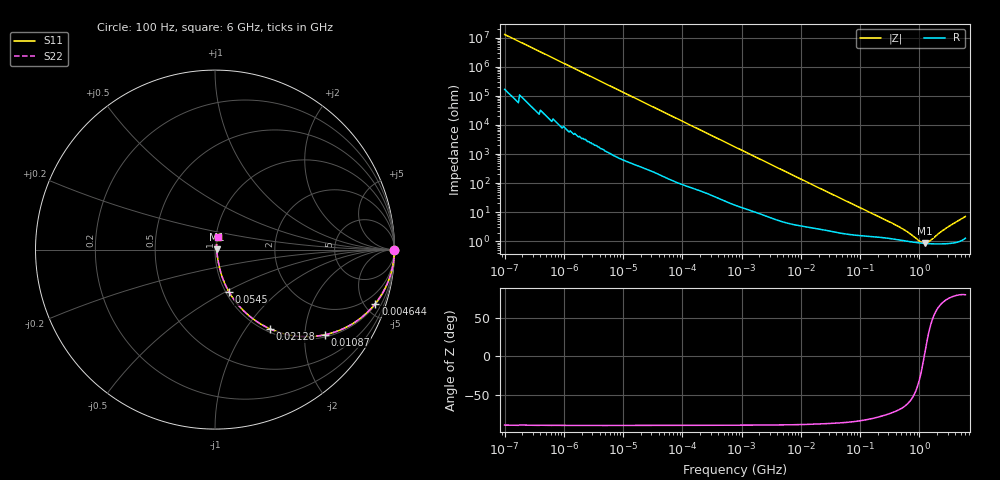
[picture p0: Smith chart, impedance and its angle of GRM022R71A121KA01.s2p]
!Murata Part Number: GRM022R71A121KA01
!These Parameters are Measured in Series Mode Connection
!Data Generated on Mar 30, 2021
!  o--ll--o
!Port1  Port2
!  o------o
!Operation Temp=25[degC], DC Bias Voltage=0[V]
!Freq. Start=100[Hz] Stop=6[GHz] 401[Steps]
# Hz S RI R 50
!Freq.(Hz) S11(Real) S11(Imag) S21(Real) S21(Imag) S12(Real) S12(Imag) S22(Real) S22(Imag)
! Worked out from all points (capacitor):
!   401 points, 100 Hz to 6 GHz, reference 50 ohm
!   read as one part in series: C = 122 pF near 109 Hz
!   lowest |Z| = 849 mohm at 1.252 GHz (marker M1)
!   series resonance near 1.212 GHz, so ESL is about 140 pH
!   S11 on the Smith chart (normalised r, x): 100 Hz: open; 4.644 MHz: 1.10, -5.91; 10.87 MHz: 1.07, -2.54; 21.28 MHz: 1.05, -1.31; 54.5 MHz: 1.04, -0.52; 6 GHz: 1.03, +0.14
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100  1 -7.7e-06  1e-07 7.7e-06  1e-07 7.7e-06  1 -7.7e-06
1227  1 -9.27e-05  5e-07 9.27e-05  5e-07 9.27e-05  1 -9.27e-05
1404  1 -0.000106  6e-07 0.000106  6e-07 0.000106  1 -0.000106
2008  1 -0.000151  8e-07 0.000151  8e-07 0.000151  1 -0.000151
40335  1 -0.00302  2.71e-05 0.00302  2.71e-05 0.00302  1 -0.00302
774597  0.9962 -0.0569  0.00382 0.0569  0.00382 0.0569  0.9962 -0.0569
1983483  0.9775 -0.1419  0.0225 0.1419  0.0225 0.1419  0.9775 -0.1419
4643984  0.8933 -0.3006  0.1067 0.3006  0.1067 0.3006  0.8933 -0.3006
6948629  0.7921 -0.3961  0.2079 0.3961  0.2079 0.3961  0.7921 -0.3961
1.087309e7  0.6142 -0.474  0.3858 0.474  0.3858 0.474  0.6142 -0.474
1.555665e7  0.4443 -0.4808  0.5557 0.4808  0.5557 0.4808  0.4443 -0.4808
2.128304e7  0.3068 -0.4417  0.6932 0.4417  0.6932 0.4417  0.3068 -0.4417
3.330331e7  0.1632 -0.3447  0.8368 0.3447  0.8368 0.3447  0.1632 -0.3447
5.449875e7  0.0775 -0.2347  0.9225 0.2347  0.9225 0.2347  0.0775 -0.2347
1.220122e8  0.0277 -0.1117  0.9723 0.1117  0.9723 0.1117  0.0277 -0.1117
3.124326e8  0.0143 -0.044  0.9857 0.044  0.9857 0.044  0.0143 -0.044
5.847788e8  0.0106 -0.0206  0.9894 0.0206  0.9894 0.0206  0.0106 -0.0206
1.046602e9  0.00865 -0.00397  0.9913 0.00397  0.9913 0.00397  0.00865 -0.00397
1.251881e9  0.00837 0.000879  0.9916 -0.000879  0.9916 -0.000879  0.00837 0.000879
1.497423e9  0.00823 0.00582  0.9918 -0.00582  0.9918 -0.00582  0.00823 0.00582
3.065283e9  0.00915 0.0297  0.9908 -0.0297  0.9908 -0.0297  0.00915 0.0297
6e9  0.0173 0.0679  0.9827 -0.0679  0.9827 -0.0679  0.0173 0.0679
